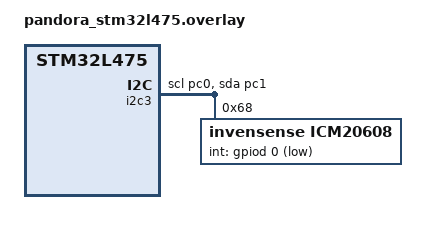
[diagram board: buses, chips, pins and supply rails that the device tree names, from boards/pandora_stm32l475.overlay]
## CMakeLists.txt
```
#
# Copyright (c) 2019 Nordic Semiconductor ASA
#
# SPDX-License-Identifier: Apache-2.0
#

cmake_minimum_required(VERSION 3.20.0)
find_package(Zephyr REQUIRED HINTS $ENV{ZEPHYR_BASE})
project(icm20608)

FILE(GLOB app_sources src/*.c)
target_sources(app PRIVATE ${app_sources})
```

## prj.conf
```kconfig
#
# Copyright (c) 2019 Nordic Semiconductor ASA
#
# SPDX-License-Identifier: Apache-2.0
#

CONFIG_I2C=y
CONFIG_SENSOR=y
CONFIG_ICM20608_TRIGGER_NONE=y
CONFIG_CBPRINTF_FP_SUPPORT=y
```

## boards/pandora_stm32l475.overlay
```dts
/*
 * Copyright (c) 2023 Łukasz Hejnak (LeHack) <lehack-ghub@lehack.pl>
 *
 * SPDX-License-Identifier: Apache-2.0
 */

&i2c3 {
	status = "okay";
	pinctrl-names = "default";
	pinctrl-0 = <&i2c3_scl_pc0 &i2c3_sda_pc1>;
	icm20608@68 {
		compatible = "invensense,icm20608";
		reg = <0x68>;
		status = "okay";
		int-gpios = <&gpiod 0 GPIO_ACTIVE_LOW>;
	};
};
```

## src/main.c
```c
/*
 * Copyright (c) 2019 Nordic Semiconductor ASA
 *
 * SPDX-License-Identifier: Apache-2.0
 */

#include <zephyr/kernel.h>
#include <zephyr/device.h>
#include <zephyr/drivers/sensor.h>
#include <stdio.h>

static const char *now_str(void)
{
	static char buf[16]; /* ...HH:MM:SS.MMM */
	uint32_t now = k_uptime_get_32();
	unsigned int ms = now % MSEC_PER_SEC;
	unsigned int s;
	unsigned int min;
	unsigned int h;

	now /= MSEC_PER_SEC;
	s = now % 60U;
	now /= 60U;
	min = now % 60U;
	now /= 60U;
	h = now;

	snprintf(buf, sizeof(buf), "%u:%02u:%02u.%03u",
		 h, min, s, ms);
	return buf;
}

static int process_icm20608(const struct device *dev)
{
	struct sensor_value temperature;
	struct sensor_value accel[3];
	struct sensor_value gyro[3];
	int rc = sensor_sample_fetch(dev);

	if (rc == 0) {
		rc = sensor_channel_get(dev, SENSOR_CHAN_ACCEL_XYZ,
					accel);
	}
	if (rc == 0) {
		rc = sensor_channel_get(dev, SENSOR_CHAN_GYRO_XYZ,
					gyro);
	}
	if (rc == 0) {
		rc = sensor_channel_get(dev, SENSOR_CHAN_AMBIENT_TEMP,
					&temperature);
	}
	if (rc == 0) {
		printf("[%s]:%3.2g Cel\n"
		       "  accel %2.4f %2.4f %2.4f m/s/s\n"
		       "  gyro  %2.4f %2.4f %2.4f rad/s\n",
		       now_str(),
		       sensor_value_to_double(&temperature),
		       sensor_value_to_double(&accel[0]),
		       sensor_value_to_double(&accel[1]),
		       sensor_value_to_double(&accel[2]),
		       sensor_value_to_double(&gyro[0]),
		       sensor_value_to_double(&gyro[1]),
		       sensor_value_to_double(&gyro[2]));
	} else {
		printf("sample fetch/get failed: %d\n", rc);
	}

	return rc;
}

#ifdef CONFIG_ICM20608_TRIGGER
static struct sensor_trigger trigger;

static void handle_icm20608_drdy(const struct device *dev,
				const struct sensor_trigger *trig)
{
	int rc = process_icm20608(dev);

	if (rc != 0) {
		printf("cancelling trigger due to failure: %d\n", rc);
		(void)sensor_trigger_set(dev, trig, NULL);
		return;
	}
}
#endif /* CONFIG_ICM20608_TRIGGER */

int main(void)
{
	const struct device *const icm20608 = DEVICE_DT_GET_ONE(invensense_icm20608);

	if (!device_is_ready(icm20608)) {
		printf("Device %s is not ready\n", icm20608->name);
		return 0;
	}

#ifdef CONFIG_ICM20608_TRIGGER
	trigger = (struct sensor_trigger) {
		.type = SENSOR_TRIG_DATA_READY,
		.chan = SENSOR_CHAN_ALL,
	};
	if (sensor_trigger_set(icm20608, &trigger,
			       handle_icm20608_drdy) < 0) {
		printf("Cannot configure trigger\n");
		return 0;
	}
	printk("Configured for triggered sampling.\n");
#endif
	while (!IS_ENABLED(CONFIG_ICM20608_TRIGGER)) {
		int rc = process_icm20608(icm20608);

		if (rc != 0) {
			break;
		}
		k_sleep(K_MSEC(300));
		// k_sleep(K_SECONDS(2));
	}

	/* triggered runs with its own thread after exit */
	return 0;
}
```
